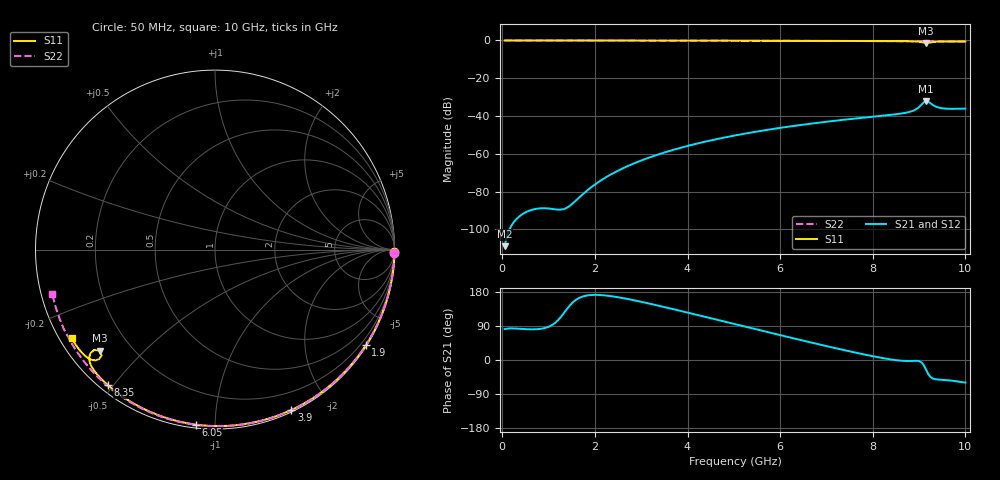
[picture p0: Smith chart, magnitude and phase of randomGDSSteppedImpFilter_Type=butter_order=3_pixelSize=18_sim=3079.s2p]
! freq	dB(S11)	phase(S11)	dB(S12)	phase(S12)
!  dB(S21)	phase(S21)	dB(S22)	phase(S22)
!S-par simulation data
#  GHz  S  DB  R 50
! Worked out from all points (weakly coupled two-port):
!   200 points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, 50 MHz to 10 GHz, reference 50 ohm
!   highest |S21| = -32.12 dB at 9.15 GHz (marker M1); lowest = -108.9 dB at 50 MHz (marker M2)
!   lowest |S11| = -1.4 dB at 9.15 GHz (marker M3), VSWR 12.73, Z = 4.48 - j18.7 ohm
!   |S11| at or under -10 dB: nowhere
!   |S22| runs from -0.5 to 0.0 dB; largest |S21 - S12| = 0
!   S11 on the Smith chart (normalised r, x): 50 MHz: open; 1.9 GHz: 0.03, -3.45; 3.9 GHz: 0.02, -1.58; 6.05 GHz: 0.02, -0.90; 8.35 GHz: 0.02, -0.49; 10 GHz: 0.03, -0.28
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0.05  -0.00 -0.9  -108.94 81.6  -108.94 81.6  -0.00 -1.0
0.85  -0.02 -14.7  -88.85 82.7  -88.85 82.7  -0.02 -16.2
1.75  -0.04 -29.9  -81.18 168.0  -81.18 168.0  -0.04 -32.9
1.8  -0.04 -30.7  -80.13 169.6  -80.13 169.6  -0.04 -33.9
1.9  -0.04 -32.4  -78.13 171.4  -78.13 171.4  -0.05 -35.7
2.2  -0.05 -37.3  -73.03 170.7  -73.03 170.7  -0.05 -41.2
2.55  -0.06 -43.1  -68.34 164.6  -68.34 164.6  -0.06 -47.5
2.95  -0.06 -49.5  -64.04 154.9  -64.04 154.9  -0.07 -54.5
3.4  -0.08 -56.7  -60.11 142.6  -60.11 142.6  -0.08 -62.4
3.9  -0.09 -64.5  -56.51 128.1  -56.51 128.1  -0.10 -70.9
5.05  -0.13 -81.8  -50.19 93.8  -50.19 93.8  -0.14 -89.8
6.05  -0.17 -96.3  -46.11 64.1  -46.11 64.1  -0.19 -105.4
6.7  -0.20 -105.4  -43.95 45.2  -43.95 45.2  -0.23 -115.3
8.35  -0.33 -128.2  -39.50 2.2  -39.50 2.2  -0.36 -139.9
8.85  -0.45 -136.1  -37.40 -2.5  -37.40 -2.5  -0.41 -147.3
8.95  -0.56 -138.2  -36.21 -2.2  -36.21 -2.2  -0.42 -148.7
9.05  -0.87 -140.2  -34.08 -5.9  -34.08 -5.9  -0.43 -150.2
9.15  -1.37 -138.8  -32.12 -25.2  -32.12 -25.2  -0.43 -151.7
9.2  -1.27 -137.0  -32.44 -37.4  -32.44 -37.4  -0.44 -152.4
9.3  -0.84 -137.2  -34.22 -49.1  -34.22 -49.1  -0.45 -154.0
9.45  -0.61 -139.9  -35.70 -51.9  -35.70 -51.9  -0.47 -156.3
10  -0.55 -148.4  -36.05 -59.9  -36.05 -59.9  -0.54 -164.7
